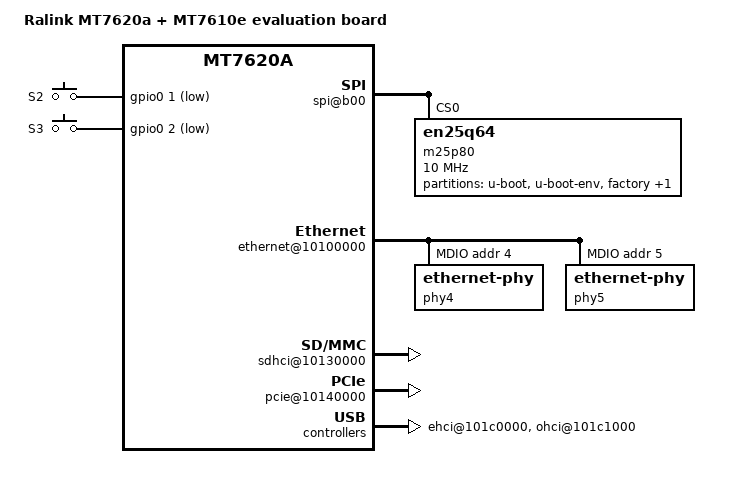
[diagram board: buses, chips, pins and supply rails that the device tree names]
/dts-v1/;

/include/ "mt7620a.dtsi"

/ {
	compatible = "ralink,mt7620a-eval-board", "ralink,mt7620a-soc";
	model = "Ralink MT7620a + MT7610e evaluation board";

	palmbus@10000000 {
		spi@b00 {
			status = "okay";

			m25p80@0 {
				#address-cells = <1>;
				#size-cells = <1>;
				compatible = "en25q64";
				reg = <0 0>;
				linux,modalias = "m25p80", "en25q64";
				spi-max-frequency = <10000000>;

				partition@0 {
					label = "u-boot";
					reg = <0x0 0x30000>;
					read-only;
				};

				partition@30000 {
					label = "u-boot-env";
					reg = <0x30000 0x10000>;
					read-only;
				};

				factory: partition@40000 {
					label = "factory";
					reg = <0x40000 0x10000>;
					read-only;
				};

				partition@50000 {
					label = "firmware";
					reg = <0x50000 0x7b0000>;
				};
			};
		};
	};

	pinctrl {
		state_default: pinctrl0 {
			gpio {
				ralink,group = "i2c", "uartf";
				ralink,function = "gpio";
			};
		};
	};

	ethernet@10100000 {
		status = "okay";

		pinctrl-names = "default";
		pinctrl-0 = <&rgmii1_pins &rgmii2_pins &mdio_pins>;

		ralink,port-map = "llllw";

		port@4 {
			status = "okay";
			phy-mode = "rgmii";
			phy-handle = <&phy4>;
		};

		port@5 {
			status = "okay";
			phy-mode = "rgmii";
			phy-handle = <&phy5>;
		};

		mdio-bus {
			status = "okay";

			phy4: ethernet-phy@4 {
				reg = <4>;
				phy-mode = "rgmii";
			};

			phy5: ethernet-phy@5 {
				reg = <5>;
				phy-mode = "rgmii";
			};
		};
	};

	gsw@10110000 {
		ralink,port4 = "gmac";
	};

	sdhci@10130000 {
		status = "okay";
	};

	pcie@10140000 {
		status = "okay";
	};

	gpio-keys-polled {
		compatible = "gpio-keys";
		#address-cells = <1>;
		#size-cells = <0>;
		poll-interval = <20>;
		s2 {
			label = "S2";
			gpios = <&gpio0 1 1>;
			linux,code = <0x100>;
		};
		s3 {
			label = "S3";
			gpios = <&gpio0 2 1>;
			linux,code = <0x101>;
		};
	};

	ehci@101c0000 {
		status = "okay";
	};

	ohci@101c1000 {
		status = "okay";
	};
};
